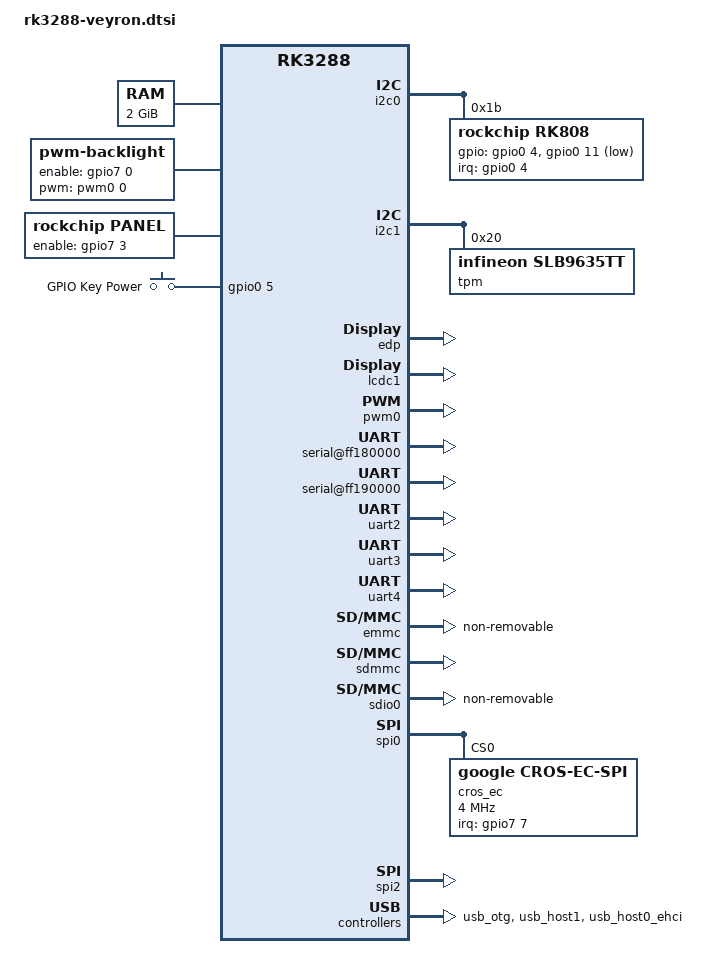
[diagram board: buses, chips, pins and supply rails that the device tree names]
/*
 * This program is free software; you can redistribute it and/or modify
 * it under the terms of the GNU General Public License as published by
 * the Free Software Foundation; either version 2 of the License, or
 * (at your option) any later version.
 *
 * This program is distributed in the hope that it will be useful,
 * but WITHOUT ANY WARRANTY; without even the implied warranty of
 * MERCHANTABILITY or FITNESS FOR A PARTICULAR PURPOSE.  See the
 * GNU General Public License for more details.
 */

#include <dt-bindings/input/input.h>
#include "rk3288.dtsi"

/ {
	aliases {
		mshc0 = &sdmmc;
		mshc1 = &sdio0;
		mshc3 = &emmc;

		serial0 = &uart0;
		serial1 = &uart1;
		serial2 = &uart2;
		serial3 = &uart3;
		serial4 = &uart4;
	};

	memory {
		reg = <0x0 0x80000000>;
	};
    
        backlight {
                compatible = "pwm-backlight";
                pwms = <&pwm0 0 25000>;
                brightness-levels = <0 1 2 3 4 5 6 7 8 9 10 11 12 13 14 15 16 17 18 19 20 21 22 23 24 25 26 27 28 29 30 31 32 33 34 35 36 37 38 39 40 41 42 43 44 45 46 47 48 49 50 51 52 53 54 55 56 57 58 59 60 61 62 63 64 65 66 67 68 69 70 71 72 73 74 75 76 77 78 79 80 81 82 83 84 85 86 87 88 89 90 91 92 93 94 95 96 97 98 99 100 101 102 103 104 105 106 107 108 109 110 111 112 113 114 115 116 117 118 119 120 121 122 123 124 125 126 127 128 129 130 131 132 133 134 135 136 137 138 139 140 141 142 143 144 145 146 147 148 149 150 151 152 153 154 155 156 157 158 159 160 161 162 163 164 165 166 167 168 169 170 171 172 173 174 175 176 177 178 179 180 181 182 183 184 185 186 187 188 189 190 191 192 193 194 195 196 197 198 199 200 201 202 203 204 205 206 207 208 209 210 211 212 213 214 215 216 217 218 219 220 221 222 223 224 225 226 227 228 229 230 231 232 233 234 235 236 237 238 239 240 241 242 243 244 245 246 247 248 249 250 251 252 253 254 255>;
                default-brightness-level = <128>;
                enable-gpios = <&gpio7 0 GPIO_ACTIVE_HIGH>;
        };

	/*for lvds 
	panel:panel {
		compatible = "rockchip,panel";
		status = "okay";
		rockchip,output-face = "r6g6b6";

		enable-gpios = <&gpio7 3 GPIO_ACTIVE_HIGH
				&gpio7 4 GPIO_ACTIVE_HIGH
				&gpio7 0 GPIO_ACTIVE_HIGH
				&gpio7 2 GPIO_ACTIVE_HIGH>;
		output-dither;

		display-timings {
			native-mode = <&timing0>;
			timing0: 1280x800 {
				clock-frequency = <71000000>;
				hactive = <1280>;
				vactive = <800>;
				hback-porch = <100>;
				hfront-porch = <18>;
				vback-porch = <8>;
				vfront-porch = <6>;
				hsync-len = <10>;
				vsync-len = <2>;
				hsync-active = <0>;
				vsync-active = <0>;
				de-active = <0>;
				pixelclk-active = <0>;
			};
		};
	};*/
	// for 1536x2048 edp
	panel:panel {
		compatible = "rockchip,panel";
		status = "okay";
		rockchip,output-face = "r6g6b6";

		enable-gpios = <&gpio7 3 GPIO_ACTIVE_HIGH>;
		output-dither;

		display-timings {
			native-mode = <&timing1>;
			timing1: timing@1 {
				clock-frequency = <205000000>;
				hactive = <1536>;
				vactive = <2048>;
				hback-porch = <48>;
				hfront-porch = <12>;
				vback-porch = <8>;
				vfront-porch = <8>;
				hsync-len = <16>;
				vsync-len = <4>;
				hsync-active = <0>;
				vsync-active = <0>;
				de-active = <0>;
				pixelclk-active = <1>;
			};
		};
	};

	soc {
		gpio-keys {
			compatible = "gpio-keys";
			#address-cells = <1>;
			#size-cells = <0>;
			autorepeat;

			button@0 {
				gpios = <&gpio0 5 GPIO_ACTIVE_HIGH>;
				linux,code = <116>;
				label = "GPIO Key Power";
				linux,input-type = <1>;
				gpio-key,wakeup = <1>;
				debounce-interval = <100>;
			};
		};

		i2c0: i2c@ff650000 {
			pinctrl-names = "default";
			pinctrl-0 = <&i2c0_xfer>;
			status = "okay";
			rk808: rk808@1b {
				compatible = "rockchip,rk808";
				reg = <0x1b>;
				interrupt-parent = <&gpio0>;
				interrupts = <4 IRQ_TYPE_EDGE_FALLING>; /* gpio0_a */
				gpios = <&gpio0 4 GPIO_ACTIVE_HIGH>,<&gpio0 11 GPIO_ACTIVE_LOW>;
			};
		};

		i2c1: i2c@ff140000 {
			pinctrl-names = "default";
			pinctrl-0 = <&i2c1_xfer>;
			status = "okay";
			tpm: tpm@20 {
				compatible = "infineon,slb9635tt";
				reg = <0x20>;
			};
		};

		edp: edp@ff970000 {                                                                                                        
			status = "okay";
			rockchip,panel = <&panel>;
		};

		lvds: lvds@ff96c000 {
			status = "disabled";
			rockchip,data-mapping = "jeida";
			rockchip,data-width = <24>;
		      rockchip,panel = <&panel>;
		};

		lcdc1: lcdc@ff940000 {
			status = "okay";
		 };
	
		watchdog@ff800000 {
			status = "okay";
		};

		pwm0: pwm@ff680000 {
			status = "okay";
		};
		
		serial@ff180000 {
			status = "okay";
		};

		serial@ff190000 {
			status = "okay";
		};

		uart2: serial@ff690000 {
			pinctrl-names = "default";
			pinctrl-0 = <&uart2_xfer>;
			status = "okay";
		};

		uart3: serial@ff1b0000 {
			status = "okay";
		};

		uart4: serial@ff1c0000 {
			status = "okay";
		};
	};
};

&emmc {
	num-slots = <1>;
	status = "okay";

	clock-frequency = <150000000>;
	clock-freq-min-max = <400000 150000000>;

	default_voltage = <1>; //1.8v

	broken-cd;
	non-removable;
	supports-highspeed;
	//caps2-mmc-hs200-1_8v;

	pinctrl-names = "default";
	pinctrl-0 = <&emmc_clk &emmc_cmd &emmc_rst &emmc_pwr &emmc_bus8>;

	slot@0 {
		reg = <0>;
		bus-width = <8>;
		disable-wp;
	};
};

&sdmmc {
	num-slots = <1>;
	status = "okay";

	clock-frequency = <50000000>;
	clock-freq-min-max = <400000 50000000>;

	supports-highspeed;

	pinctrl-names = "default";
	pinctrl-0 = <&sdmmc_clk &sdmmc_cmd &sdmmc_cd &sdmmc_bus4>;

	slot@0 {
		reg = <0>;
		bus-width = <4>;
		disable-wp;
	};
};

&sdio0 {
	num-slots = <1>;
	status = "okay";

	clock-frequency = <50000000>;
	clock-freq-min-max = <400000 50000000>;

	default_voltage = <1>; //1.8v

	broken-cd;
	non-removable;
	cap-sdio-irq;
	supports-highspeed;
	ignore-pm-notify;
	keep-power-in-suspend;

	pinctrl-names = "default";
	pinctrl-0 = <&sdio0_clk &sdio0_cmd &sdio0_cd &sdio0_pwr &sdio0_bkpwr &sdio0_bus4>;

	rockchip,grf = <&grf>;

	slot@0 {
		reg = <0>;
		bus-width = <4>;
		disable-wp;
	};
};

&spi0 {
	status = "okay";
	cros_ec: cros-ec@0 {
		compatible = "google,cros-ec-spi";
		spi-max-frequency = <4000000>;
		interrupt-parent = <&gpio7>;
		interrupts = <7 IRQ_TYPE_LEVEL_LOW>;
		reg = <0>;

		google,cros-ec-spi-msg-delay = <2000>;

		charger: gpio-charger@0 {
			compatible = "gpio-charger";
			charger-type = "usb-sdp";
			gpios = <&gpio0 8 GPIO_ACTIVE_HIGH>;
		};

		i2c-tunnel {
			compatible = "google,cros-ec-i2c-tunnel";
			#address-cells = <1>;
			#size-cells = <0>;

			google,remote-bus = <0>;

			battery: sbs-battery@b {
				compatible = "sbs,sbs-battery";
				reg = <0xb>;
				sbs,i2c-retry-count = <2>;
				sbs,poll-retry-count = <1>;
			};
		};
	};
};

&spi2 {
	status = "okay";
};

&usb_otg {
	status = "okay";
};

&usb_host1 {
	status = "okay";
};

&usb_host0_ehci {
	status = "okay";
};
#include "cros-ec-keyboard.dtsi"
